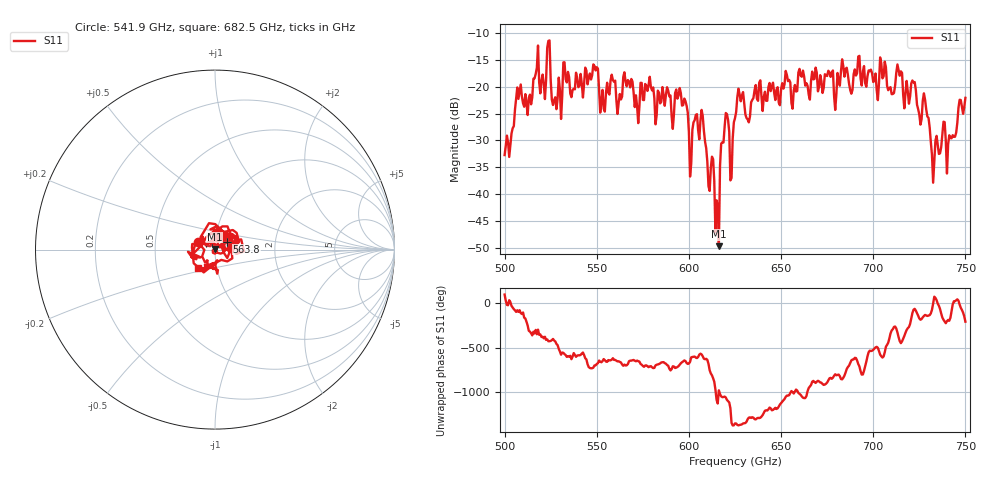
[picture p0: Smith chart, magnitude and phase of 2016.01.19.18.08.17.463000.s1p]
!Created with skrf (http://scikit-rf.org).
# GHz S RI R 50.0
!freq ReS11 ImS11
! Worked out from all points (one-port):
!   401 points, 500 GHz to 750 GHz, reference 50 ohm
!   lowest |S11| = -49.7 dB at 616.2 GHz (marker M1), VSWR 1.01, Z = 49.9 + j0.32 ohm
!   |S11| at or under -10 dB: start of sweep to end of sweep
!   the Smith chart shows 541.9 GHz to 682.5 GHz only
!   S11 on the Smith chart (normalised r, x): 541.9 GHz: 0.82, +0.07; 563.8 GHz: 1.14, +0.10; 682.5 GHz: 0.81, -0.17
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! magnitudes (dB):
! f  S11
! 500 GHz  -32.7
! 516.9 GHz  -17.6
! 520.6 GHz  -17.7
! 523.8 GHz  -11.4
! 526.9 GHz  -22.5
! 531.2 GHz  -21.7
! 541.9 GHz  -19.4
! 549.4 GHz  -17.0
! 553.1 GHz  -20.6
! 558.8 GHz  -18.7
! 562.5 GHz  -21.3
! 563.8 GHz  -21.8
! 593.8 GHz  -22.2
! 601.2 GHz  -34.2
! 607.5 GHz  -25.4
! 615 GHz  -41.2
! 616.2 GHz  -49.7
! 619.4 GHz  -27.4
! 623.1 GHz  -37.0
! 625 GHz  -25.8
! 656.2 GHz  -24.1
! 682.5 GHz  -17.1
! 687.5 GHz  -20.6
! 705 GHz  -18.4
! 718.8 GHz  -20.9
! 728.1 GHz  -22.4
! 732.5 GHz  -37.9
! 750 GHz  -22.1
